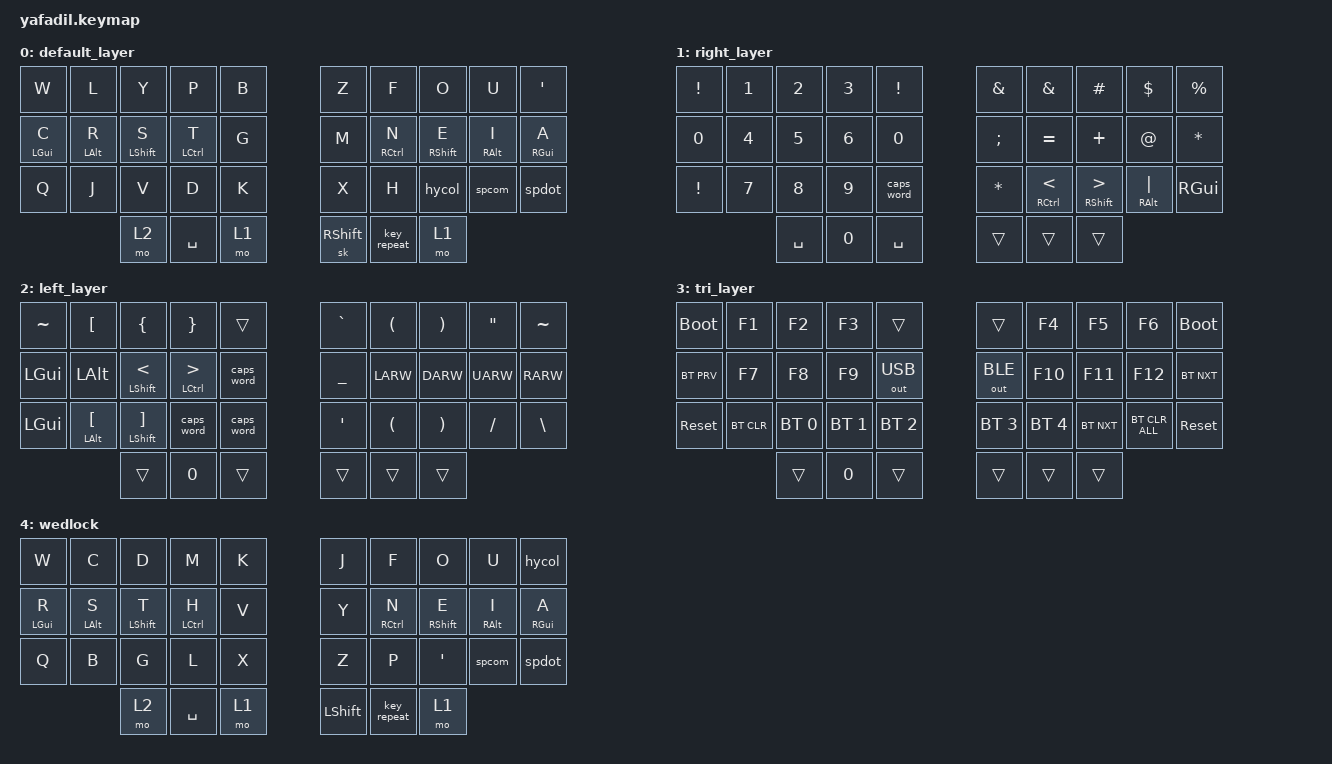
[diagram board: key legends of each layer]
// Copyright (c) 2022 The ZMK Contributors
// SPDX-License-Identifier: MIT

#include <behaviors.dtsi>
#include <dt-bindings/zmk/keys.h>
#include <dt-bindings/zmk/bt.h>
#include <dt-bindings/zmk/outputs.h>

/ {
    behaviors {
        ht: hold_tap {
            compatible = "zmk,behavior-hold-tap";
            #binding-cells = <2>;
            flavor = "tap-preferred";
            tapping-term-ms = <222>;
            quick-tap-ms = <150>;
            require-prior-idle-ms = <100>;
            bindings = <&kp>, <&kp>;
        };

        htt: hold_tap_2 {
            compatible = "zmk,behavior-hold-tap";
            #binding-cells = <2>;
            flavor = "tap-preferred";
            tapping-term-ms = <169>;
            quick-tap-ms = <150>;
            require-prior-idle-ms = <100>;
            bindings = <&kp>, <&kp>;
        };
/*
WOuld like to ahve one shot shift but layer on hold
        st: stick_tap {
            compatible = "zmk,behavior-hold-tap";
            #binding-cells = <2>;
            flavor = "tap-preferred";
            tapping-term-ms = <220>;
            quick-tap-ms = <150>;
            require-prior-idle-ms = <100>;
            bindings = <&sk>, <&mo>;
        };
*/
	// MOD MORPHES
	hycol: hyphen_colon {
	    compatible = "zmk,behavior-mod-morph";
            label = "DASH_COLON";
            #binding-cells = <0>;
            bindings = <&kp MINUS>, <&kp COLON>;
            mods = <(MOD_LSFT|MOD_RSFT)>;
	};

	spcom: special_comma {
	    compatible = "zmk,behavior-mod-morph";
            label = "SPECIAL_COM";
            #binding-cells = <0>;
            bindings = <&kp COMMA>, <&kp QMARK>;
            mods = <(MOD_LSFT|MOD_RSFT)>;
	};

	spdot: special_dot {
	    compatible = "zmk,behavior-mod-morph";
            label = "SPECIAL_DOT";
            #binding-cells = <0>;
            bindings = <&kp DOT>, <&kp EXCL>;
            mods = <(MOD_LSFT|MOD_RSFT)>;
	};
    };// END BEHAVIOURS

    // Begin macros

    macros {

        // steno-lite macros

        // words
            st_and: st_and {
                compatible = "zmk,behavior-macro";
                #binding-cells = <0>;
                bindings
                    = <&macro_tap &kp A &kp N &kp D>
                    ;
            };

            st_for: st_for {
                compatible = "zmk,behavior-macro";
                #binding-cells = <0>;
                bindings
                    = <&macro_tap &kp F &kp O &kp R>
                    ;
            };

            st_the: st_the {
                compatible = "zmk,behavior-macro";
                #binding-cells = <0>;
                bindings
                    = <&macro_tap &kp T &kp H &kp E>
                    ;
            };

            st_from: st_from {
                compatible = "zmk,behavior-macro";
                #binding-cells = <0>;
                bindings
                    = <&macro_tap &kp F &kp R &kp O &kp M>
                    ;
            };

            st_like: st_like {
                compatible = "zmk,behavior-macro";
                #binding-cells = <0>;
                bindings
                    = <&macro_tap &kp L &kp I &kp K &kp E>
                    ;
            };

            st_said: st_said {
                compatible = "zmk,behavior-macro";
                #binding-cells = <0>;
                bindings
                    = <&macro_tap &kp S &kp A &kp I &kp D>
                    ;
            };

            st_what: st_what {
                compatible = "zmk,behavior-macro";
                #binding-cells = <0>;
                bindings
                    = <&macro_tap &kp W &kp H &kp A &kp T>
                    ;
            };

            st_with: st_with {
                compatible = "zmk,behavior-macro";
                #binding-cells = <0>;
                bindings
                    = <&macro_tap &kp W &kp I &kp T &kp H>
                    ;
            };

      // --- 5 letters ---

            st_going: st_going {
                compatible = "zmk,behavior-macro";
                #binding-cells = <0>;
                bindings
                    = <&macro_tap &kp G &kp O &kp I &kp N &kp G>
                    ;
            };

            st_while: st_while {
                compatible = "zmk,behavior-macro";
                #binding-cells = <0>;
                bindings
                    = <&macro_tap &kp W &kp H &kp I &kp L &kp E>
                    ;
            };

      // --- 6 letters ---

            st_looked: st_looked {
                compatible = "zmk,behavior-macro";
                #binding-cells = <0>;
                bindings
                    = <&macro_tap &kp L &kp O &kp O &kp K &kp E &kp D>
                    ;
            };

	// Sylables

        st_ing: st_ing {
                compatible = "zmk,behavior-macro";
                #binding-cells = <0>;
                bindings
                    = <&macro_tap &kp I &kp N &kp G>
                    ;
            };

        st_dotspacecap: st_dotspacecap {
                compatible = "zmk,behavior-macro";
                #binding-cells = <0>;
                bindings
                    = <&macro_tap &kp DOT &kp SPACE>
                    , <&sk LSHIFT>
                    ;
            };

        st_ly: st_ly {
                compatible = "zmk,behavior-macro";
                #binding-cells = <0>;
                bindings
                    = <&macro_tap &kp L &kp Y>
                    ;
            };

        st_tion: st_tion {
                compatible = "zmk,behavior-macro";
                #binding-cells = <0>;
                bindings
                    = <&macro_tap &kp T &kp I &kp O &kp N>
                    ;
            };
    };// END MACROS

    conditional_layers {
        compatible = "zmk,conditional-layers";
        tri_layer {
            if-layers = <1 2>;
            then-layer = <3>;
        };
    };// END CONDITIONAL LAYERS

       // START COMBOS
       combos {
        compatible = "zmk,combos";

        combo_esc {
            timeout-ms = <50>;
            key-positions = <11 12 13>;
            bindings = <&kp ESC>;
        };

        combo_enter {
            timeout-ms = <50>;
            key-positions = <17 18 19>;
            bindings = <&kp ENTER>;
        };

        combo_bk {
            timeout-ms = <50>;
            key-positions = <16 17 18>;
            bindings = <&kp BSPC>;
        };

        combo_tab {
            timeout-ms = <50>;
            key-positions = <10 11 12>;
            bindings = <&kp TAB>;
        };

        combo_colon {
            timeout-ms = <50>;
            key-positions = <26 27 28>;
            bindings = <&kp COLON>;
        };

        combo_semi {
            timeout-ms = <50>;
            key-positions = <21 22 23>;
            bindings = <&kp SEMI>;
        };

        combo_del {
            timeout-ms = <50>;
            key-positions = <1 2 3>;
            bindings = <&kp DEL>;
        };

        //TODO make underscore compatible
        combo_capsword {
            timeout-ms = <50>;
            key-positions = <16 7 18>;
            bindings = <&kp DEL>;
        };

        combo_oneshift{
            timeout-ms = <50>;
            key-positions = <15 17>;
            bindings = <&sk LSHIFT>;
        };

        combo_oneshift_left{
            timeout-ms = <50>;
            key-positions = <12 14>;
            bindings = <&sk LSHIFT>;
        };
        
        // CHORDING BOARD TEST
        
	// Steno-lite

        combo_the {
            timeout-ms = <50>;
            key-positions = <13 16 17>;
            bindings = <&st_the>;
        };

        combo_from {
            timeout-ms = <50>;
            key-positions = <11 16 17>;
            bindings = <&st_from>;
        };

        combo_like {
            timeout-ms = <50>;
            key-positions = <1 13 18>;
            bindings = <&st_like>;
        };

        combo_said {
            timeout-ms = <50>;
            key-positions = <12 23 18 19>;
            bindings = <&st_said>;
        };



        combo_ing {
            timeout-ms = <50>;
            key-positions = <13 16 18>;
            bindings = <&st_ing>;
        };

        combo_dotspacecap {
            timeout-ms = <50>;
            key-positions = <31 32 19>;
            bindings = <&st_dotspacecap>;
        };

        combo_ly {
            timeout-ms = <50>;
            key-positions = <11 13 32>;
            bindings = <&st_ly>;
        };

        combo_tion {
            timeout-ms = <50>;
            key-positions = <13 32>;
            bindings = <&st_ly>;
        };
           
	// --- LETTER COMBOS
        combo_b {
            timeout-ms = <50>;
            key-positions = <13 16>;
            bindings = <&kp B>;
        };
        combo_g {
            timeout-ms = <50>;
            key-positions = <10 13>;
            bindings = <&kp G>;
        };

        combo_k {
            timeout-ms = <50>;
            key-positions = <13 18>;
            bindings = <&kp K>;
        };

        combo_m {
            timeout-ms = <50>;
            key-positions = <13 34>;
            bindings = <&kp M>;
        };
        combo_x {
            timeout-ms = <50>;
            key-positions = <10 18>;
            bindings = <&kp X>;
        };

        combo_z {
            timeout-ms = <50>;
            key-positions = <11 19>;
            bindings = <&kp Z>;
        };
        
	combo_doublequote {
            timeout-ms = <50>;
            key-positions = <11 13>;
            bindings = <&kp D>;
        };//MAKE MACRO  <>

        wedlock {
            timeout-ms = <150>;
            key-positions = <0 1 8 9>;
            bindings = <&tog 4>;
        };

    // Combo ref
    // 0  1  2  3  4      5  6  7  8  9
    // 10 11 12 13 14     15 16 17 18 19
    // 20 21 22 23 24     25 26 27 28 29
    //       30 31 32     33 34 35

    }; // END COMBOS


    keymap {
        compatible = "zmk,keymap";
        default_layer {
            bindings = <
         &kp W      &kp L      &kp Y        &kp P        &kp B               &kp Z        &kp F        &kp O        &kp U       &kp SQT
         &ht LGUI C &ht LALT R &ht LSHFT S  &ht LCTRL T  &kp G               &kp M        &ht RCTRL N  &ht RSHFT E  &ht RALT I  &ht RGUI A
         &kp Q      &kp J      &kp V        &kp D        &kp K               &kp X        &kp H        &hycol       &spcom      &spdot
                               &mo 2        &kp SPACE    &mo 1               &sk RSHFT    &key_repeat  &mo 1
            >;
        };

        right_layer {
            bindings = <
            &kp EXCL   &kp N1     &kp N2    &kp N3    &kp EXCL            &kp AMPS    &kp AMPS     &kp HASH      &kp DLLR      &kp PRCNT
            &kp N0     &kp N4     &kp N5    &kp N6    &kp N0              &kp SEMI    &kp EQUAL    &kp PLUS      &kp AT        &kp ASTRK 
            &kp EXCL   &kp N7     &kp N8    &kp N9    &caps_word          &kp ASTRK   &ht RCTRL LT &ht RSHFT GT  &ht RALT PIPE &kp RGUI
                                  &kp SPACE &kp N0    &kp SPACE           &trans      &trans      &trans
            >;
        };

        left_layer {
            bindings = <
            &kp TILDE  &kp LBKT      &kp LBRC       &kp RBRC      &trans             &kp GRAVE  &kp LPAR   &kp RPAR   &kp DQT    &kp TILDE
            &kp LGUI   &kp LALT      &ht LSHFT LT   &ht LCTRL GT  &caps_word         &kp UNDER  &kp LARW   &kp DARW   &kp UARW   &kp RARW
            &kp LGUI   &ht LALT LBKT &ht LSHFT RBKT &caps_word    &caps_word         &kp SQT    &kp LPAR   &kp RPAR   &kp FSLH   &kp BSLH
                                     &trans         &kp N0        &trans             &trans     &trans     &trans
            >;
        };

        tri_layer {
            bindings = <
          &bootloader &kp F1       &kp F2       &kp F3       &trans              &trans       &kp F4         &kp F5     &kp F6         &bootloader
          &bt BT_PRV  &kp F7       &kp F8       &kp F9       &out OUT_USB        &out OUT_BLE &kp F10        &kp F11    &kp F12        &bt BT_NXT
          &sys_reset  &bt BT_CLR   &bt BT_SEL 0 &bt BT_SEL 1 &bt BT_SEL 2        &bt BT_SEL 3 &bt BT_SEL 4   &bt BT_NXT &bt BT_CLR_ALL &sys_reset 
                                   &trans       &kp N0        &trans             &trans       &trans         &trans
            >;
        };
        
	wedlock {
            bindings = <
         &kp W      &kp C      &kp D        &kp M        &kp K               &kp J        &kp F        &kp O        &kp U       &hycol
         &ht LGUI R &ht LALT S &ht LSHFT T  &ht LCTRL H  &kp V               &kp Y        &ht RCTRL N  &ht RSHFT E  &ht RALT I  &ht RGUI A
         &kp Q      &kp B      &kp G        &kp L        &kp X               &kp Z        &kp P        &kp SQT      &spcom      &spdot
                               &mo 2        &kp SPACE    &mo 1               &kp LSHFT    &key_repeat  &mo 1
            >;
        };

    };
};
